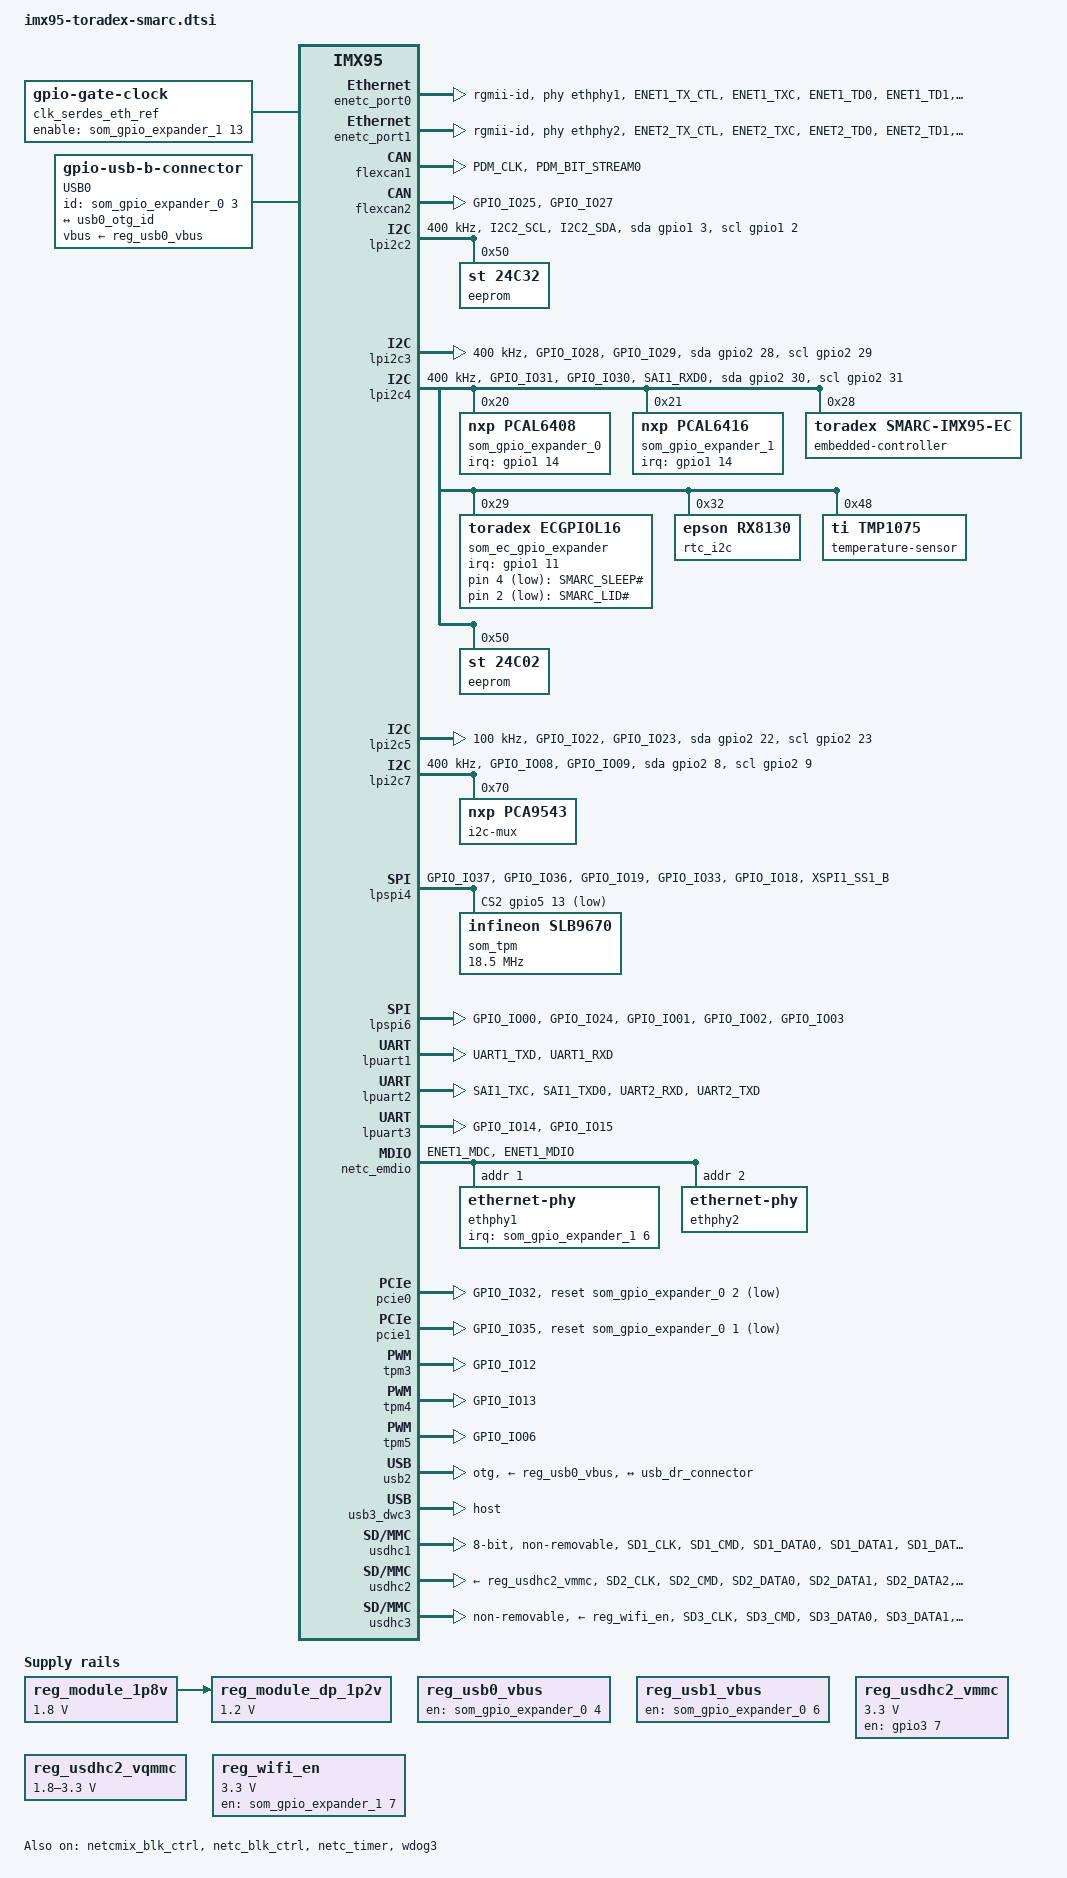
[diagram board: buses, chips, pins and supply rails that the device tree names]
// SPDX-License-Identifier: GPL-2.0-or-later OR MIT
/*
 * Copyright (C) 2025 Toradex
 *
 * https://www.toradex.com/computer-on-modules/smarc-arm-family/nxp-imx95
 */

#include <dt-bindings/input/input.h>
#include <dt-bindings/net/ti-dp83867.h>
#include "imx95.dtsi"

/ {
	aliases {
		can0 = &flexcan1;
		can1 = &flexcan2;
		ethernet0 = &enetc_port0;
		ethernet1 = &enetc_port1;
		mmc0 = &usdhc1;
		mmc1 = &usdhc2;
		mmc2 = &usdhc3;
		rtc0 = &rtc_i2c;
		rtc1 = &scmi_bbm;
		serial0 = &lpuart2;
		serial1 = &lpuart1;
		serial3 = &lpuart3;
	};

	chosen {
		stdout-path = "serial1:115200n8";
	};

	clk_dsi2dp_bridge: clock-dsi2dp-bridge {
		compatible = "fixed-clock";
		#clock-cells = <0>;
		clock-frequency = <27000000>;
	};

	clk_serdes_eth_ref: clock-eth-ref {
		compatible = "gpio-gate-clock";
		#clock-cells = <0>;
		/* CTRL_ETH_REF_CLK_STBY# */
		enable-gpios = <&som_gpio_expander_1 13 GPIO_ACTIVE_HIGH>;
	};

	connector {
		compatible = "gpio-usb-b-connector", "usb-b-connector";
		/* SMARC P64 - USB0_OTG_ID */
		id-gpios = <&som_gpio_expander_0 3 GPIO_ACTIVE_HIGH>;
		label = "USB0";
		self-powered;
		type = "micro";
		vbus-supply = <&reg_usb0_vbus>;

		port {
			usb_dr_connector: endpoint {
				remote-endpoint = <&usb0_otg_id>;
			};
		};
	};

	gpio-keys {
		compatible = "gpio-keys";

		smarc_key_sleep: key-sleep {
			gpios = <&som_ec_gpio_expander 4 GPIO_ACTIVE_LOW>;
			label = "SMARC_SLEEP#";
			wakeup-source;
			linux,code = <KEY_SLEEP>;
		};

		smarc_switch_lid: switch-lid {
			gpios = <&som_ec_gpio_expander 2 GPIO_ACTIVE_LOW>;
			label = "SMARC_LID#";
			linux,code = <SW_LID>;
			linux,input-type = <EV_SW>;
		};
	};

	reg_module_1p8v: regulator-module-1p8v {
		compatible = "regulator-fixed";
		regulator-max-microvolt = <1800000>;
		regulator-min-microvolt = <1800000>;
		regulator-name = "On-module +V1.8";
	};

	/* Non PMIC On-module Supplies */
	reg_module_dp_1p2v: regulator-module-dp-1p2v {
		compatible = "regulator-fixed";
		regulator-max-microvolt = <1200000>;
		regulator-min-microvolt = <1200000>;
		regulator-name = "On-module +V1.2_DP";
		vin-supply = <&reg_module_1p8v>;
	};

	reg_usb0_vbus: regulator-usb0-vbus {
		compatible = "regulator-fixed";
		/* SMARC P62 - USB0_EN_OC# */
		gpios = <&som_gpio_expander_0 4 GPIO_ACTIVE_HIGH>;
		enable-active-high;
		regulator-name = "USB0_EN_OC#";
	};

	reg_usb1_vbus: regulator-usb1-vbus {
		compatible = "regulator-fixed";
		/* CTRL_V_BUS_USB_HUB or SMARC P71 - USB2_EN_OC# */
		gpios = <&som_gpio_expander_0 6 GPIO_ACTIVE_HIGH>;
		enable-active-high;
		regulator-name = "CTRL_V_BUS_USB_HUB";
	};

	reg_usdhc2_vmmc: regulator-vmmc-usdhc2 {
		compatible = "regulator-fixed";
		pinctrl-names = "default";
		pinctrl-0 = <&pinctrl_usdhc2_pwr_en>;
		gpio = <&gpio3 7 GPIO_ACTIVE_HIGH>;
		enable-active-high;
		off-on-delay-us = <100000>;
		regulator-max-microvolt = <3300000>;
		regulator-min-microvolt = <3300000>;
		regulator-name = "SDIO_PWR_EN";
		startup-delay-us = <20000>;
	};

	reg_usdhc2_vqmmc: regulator-usdhc2-vqmmc {
		compatible = "regulator-gpio";
		pinctrl-names = "default";
		pinctrl-0 = <&pinctrl_usdhc2_vsel>;
		gpios = <&gpio3 19 GPIO_ACTIVE_HIGH>;
		regulator-max-microvolt = <3300000>;
		regulator-min-microvolt = <1800000>;
		states = <1800000 0x1>,
			 <3300000 0x0>;
		regulator-name = "PMIC_SD2_VSEL";
	};

	reg_wifi_en: regulator-wifi-en {
		compatible = "regulator-fixed";
		/* CTRL_EN_WIFI */
		gpios = <&som_gpio_expander_1 7 GPIO_ACTIVE_HIGH>;
		enable-active-high;
		regulator-max-microvolt = <3300000>;
		regulator-min-microvolt = <3300000>;
		regulator-name = "CTRL_EN_WIFI";
		startup-delay-us = <2000>;
	};

	reserved-memory {
		#address-cells = <2>;
		#size-cells = <2>;
		ranges;

		linux_cma: linux,cma {
			compatible = "shared-dma-pool";
			reusable;
			size = <0 0x3c000000>;
			alloc-ranges = <0 0x80000000 0 0x7f000000>;
			linux,cma-default;
		};
	};
};

/* SMARC GBE0 */
&enetc_port0 {
	pinctrl-names = "default";
	pinctrl-0 = <&pinctrl_enetc0>, <&pinctrl_enetc0_1588_tmr>;
	phy-handle = <&ethphy1>;
	phy-mode = "rgmii-id";
};

/* SMARC GBE1 */
&enetc_port1 {
	pinctrl-names = "default";
	pinctrl-0 = <&pinctrl_enetc1>, <&pinctrl_enetc1_1588_tmr>;
	phy-handle = <&ethphy2>;
	phy-mode = "rgmii-id";
};

/* SMARC CAN0 */
&flexcan1 {
	pinctrl-names = "default";
	pinctrl-0 = <&pinctrl_flexcan1>;
};

/* SMARC CAN1 */
&flexcan2 {
	pinctrl-names = "default";
	pinctrl-0 = <&pinctrl_flexcan2>;
};

&gpio1 {
	gpio-line-names = "", /* 0 */
			  "",
			  "SMARC_I2C_GP_CK",
			  "SMARC_I2C_GP_DAT",
			  "",
			  "",
			  "",
			  "",
			  "",
			  "",
			  "", /* 10 */
			  "",
			  "",
			  "",
			  "CTRL_IO_EXP_INT_B";
	status = "okay";
};

&gpio2 {
	gpio-line-names = "SMARC_SPI0_CS0#", /* 0 */
			  "",
			  "",
			  "",
			  "",
			  "",
			  "SMARC_GPIO5",
			  "",
			  "I2C_CAM_DAT",
			  "I2C_CAM_CK",
			  "SMARC_GPIO12", /* 10 */
			  "SMARC_GPIO13",
			  "",
			  "",
			  "",
			  "",
			  "",
			  "",
			  "SMARC_SPI1_CS0#",
			  "",
			  "", /* 20 */
			  "",
			  "SMARC_I2C_LCD_DAT",
			  "SMARC_I2C_LCD_CK",
			  "SMARC_SPI0_CS1#",
			  "",
			  "",
			  "",
			  "SMARC_I2C_PM_DAT",
			  "SMARC_I2C_PM_CK",
			  "I2C_SOM_DAT", /* 30 */
			  "I2C_SOM_CK";
	status = "okay";
};

&gpio3 {
	gpio-line-names = "SMARC_SDIO_CD#", /* 0 */
			  "",
			  "",
			  "",
			  "",
			  "",
			  "",
			  "SMARC_SDIO_PWR_EN",
			  "",
			  "",
			  "", /* 10 */
			  "",
			  "",
			  "",
			  "",
			  "",
			  "",
			  "",
			  "",
			  "",
			  "PMIC_SD2_VSEL";
	status = "okay";
};

&gpio4 {
	gpio-line-names = "", /* 0 */
			  "",
			  "",
			  "",
			  "",
			  "",
			  "",
			  "",
			  "",
			  "",
			  "", /* 10 */
			  "",
			  "",
			  "",
			  "SMARC_GPIO11",
			  "SMARC_GPIO10",
			  "",
			  "",
			  "",
			  "",
			  "", /* 20 */
			  "",
			  "",
			  "",
			  "",
			  "",
			  "",
			  "",
			  "SMARC_SMB_ALERT#";
	status = "okay";
};

&gpio5 {
	gpio-line-names = "SMARC_GPIO2", /* 0 */
			  "SMARC_GPIO3",
			  "SMARC_GPIO4",
			  "SMARC_GPIO6",
			  "",
			  "",
			  "",
			  "",
			  "SMARC_GPIO9",
			  "SMARC_GPIO7",
			  "SMARC_GPIO8", /* 10 */
			  "SMARC_SPI1_CS1#",
			  "",
			  "SPI1_TPM_CS#";
	status = "okay";
};

/* SMARC I2C_GP */
&lpi2c2 {
	pinctrl-names = "default", "gpio";
	pinctrl-0 = <&pinctrl_lpi2c2>;
	pinctrl-1 = <&pinctrl_lpi2c2_gpio>;
	#address-cells = <1>;
	#size-cells = <0>;
	clock-frequency = <400000>;
	scl-gpios = <&gpio1 2 (GPIO_ACTIVE_HIGH | GPIO_OPEN_DRAIN)>;
	sda-gpios = <&gpio1 3 (GPIO_ACTIVE_HIGH | GPIO_OPEN_DRAIN)>;
	status = "okay";

	eeprom@50 {
		compatible = "st,24c32", "atmel,24c32";
		reg = <0x50>;
		pagesize = <32>;
	};
};

/* SMARC I2C_PM */
&lpi2c3 {
	pinctrl-names = "default", "gpio";
	pinctrl-0 = <&pinctrl_lpi2c3>;
	pinctrl-1 = <&pinctrl_lpi2c3_gpio>;
	#address-cells = <1>;
	#size-cells = <0>;
	clock-frequency = <400000>;
	scl-gpios = <&gpio2 29 (GPIO_ACTIVE_HIGH | GPIO_OPEN_DRAIN)>;
	sda-gpios = <&gpio2 28 (GPIO_ACTIVE_HIGH | GPIO_OPEN_DRAIN)>;
};

/* I2C_SOM */
&lpi2c4 {
	pinctrl-names = "default", "gpio";
	pinctrl-0 = <&pinctrl_lpi2c4>, <&pinctrl_ctrl_io_exp_int_b>;
	pinctrl-1 = <&pinctrl_lpi2c4_gpio>, <&pinctrl_ctrl_io_exp_int_b>;
	#address-cells = <1>;
	#size-cells = <0>;
	clock-frequency = <400000>;
	scl-gpios = <&gpio2 31 (GPIO_ACTIVE_HIGH | GPIO_OPEN_DRAIN)>;
	sda-gpios = <&gpio2 30 (GPIO_ACTIVE_HIGH | GPIO_OPEN_DRAIN)>;
	status = "okay";

	som_gpio_expander_0: gpio@20 {
		compatible = "nxp,pcal6408";
		reg = <0x20>;
		#interrupt-cells = <2>;
		interrupt-controller;
		interrupt-parent = <&gpio1>;
		interrupts = <14 IRQ_TYPE_LEVEL_LOW>;
		#gpio-cells = <2>;
		gpio-controller;
		gpio-line-names =
			"SMARC_PCIE_WAKE#", /* 0 */
			"SMARC_PCIE_B_RST#",
			"SMARC_PCIE_A_RST#",
			"SMARC_USB0_OTG_ID",
			"SMARC_USB0_EN", /* SMARC USB0_EN_OC# - Open Drain Output */
			"SMARC_USB0_OC#", /* SMARC USB0_EN_OC# - Over-Current Sense Input */
			"",
			"SMARC_PCIE_C_RST#";
	};

	som_gpio_expander_1: gpio@21 {
		compatible = "nxp,pcal6416";
		reg = <0x21>;
		#interrupt-cells = <2>;
		interrupt-controller;
		interrupt-parent = <&gpio1>;
		interrupts = <14 IRQ_TYPE_LEVEL_LOW>;
		#gpio-cells = <2>;
		gpio-controller;
		gpio-line-names =
			"SMARC_GPIO0", /* 0 */
			"SMARC_GPIO1",
			"SMARC_LCD0_VDD_EN",
			"SMARC_LCD0_BKLT_EN",
			"SMARC_LCD1_VDD_EN",
			"SMARC_LCD1_BKLT_EN",
			"",
			"",
			"",
			"",
			"", /* 10 */
			"",
			"",
			"",
			"",
			"SMARC_SDIO_WP";
	};

	embedded-controller@28 {
		compatible = "toradex,smarc-imx95-ec", "toradex,smarc-ec";
		reg = <0x28>;
	};

	som_ec_gpio_expander: gpio@29 {
		compatible = "toradex,ecgpiol16", "nxp,pcal6416";
		reg = <0x29>;
		pinctrl-names = "default";
		pinctrl-0 = <&pinctrl_ec_int>;
		#interrupt-cells = <2>;
		interrupt-controller;
		interrupt-parent = <&gpio1>;
		interrupts = <11 IRQ_TYPE_LEVEL_LOW>;
		#gpio-cells = <2>;
		gpio-controller;
		gpio-line-names =
			"SMARC_CHARGER_PRSNT#",
			"SMARC_CHARGING#",
			"SMARC_LID#",
			"SMARC_BATLOW#",
			"SMARC_SLEEP#";
	};

	/* SMARC DP0 */
	som_dsi2dp_bridge: bridge@2c {
		compatible = "ti,sn65dsi86";
		reg = <0x2c>;
		clocks = <&clk_dsi2dp_bridge>;
		clock-names = "refclk";
		vcc-supply = <&reg_module_dp_1p2v>;
		vcca-supply = <&reg_module_dp_1p2v>;
		vccio-supply = <&reg_module_1p8v>;
		vpll-supply = <&reg_module_1p8v>;
		status = "disabled";

		ports {
			#address-cells = <1>;
			#size-cells = <0>;

			port@0 {
				reg = <0>;

				sn65dsi86_in: endpoint {
				};
			};

			port@1 {
				reg = <1>;

				sn65dsi86_out: endpoint {
					data-lanes = <3 2 1 0>;
				};
			};
		};
	};

	rtc_i2c: rtc@32 {
		compatible = "epson,rx8130";
		reg = <0x32>;
	};

	temperature-sensor@48 {
		compatible = "ti,tmp1075";
		reg = <0x48>;
	};

	eeprom@50 {
		compatible = "st,24c02", "atmel,24c02";
		reg = <0x50>;
		pagesize = <16>;
	};
};

/* SMARC I2C_LCD */
&lpi2c5 {
	pinctrl-names = "default", "gpio";
	pinctrl-0 = <&pinctrl_lpi2c5>;
	pinctrl-1 = <&pinctrl_lpi2c5_gpio>;
	#address-cells = <1>;
	#size-cells = <0>;
	clock-frequency = <100000>;
	scl-gpios = <&gpio2 23 (GPIO_ACTIVE_HIGH | GPIO_OPEN_DRAIN)>;
	sda-gpios = <&gpio2 22 (GPIO_ACTIVE_HIGH | GPIO_OPEN_DRAIN)>;
};

/* I2C_CAM */
&lpi2c7 {
	pinctrl-names = "default", "gpio";
	pinctrl-0 = <&pinctrl_lpi2c7>;
	pinctrl-1 = <&pinctrl_lpi2c7_gpio>;
	#address-cells = <1>;
	#size-cells = <0>;
	clock-frequency = <400000>;
	scl-gpios = <&gpio2 9 (GPIO_ACTIVE_HIGH | GPIO_OPEN_DRAIN)>;
	sda-gpios = <&gpio2 8 (GPIO_ACTIVE_HIGH | GPIO_OPEN_DRAIN)>;
	status = "okay";

	i2c-mux@70 {
		compatible = "nxp,pca9543";
		reg = <0x70>;
		#address-cells = <1>;
		#size-cells = <0>;

		/* SMARC I2C_CAM0 */
		i2c_cam0: i2c@0 {
			reg = <0>;
			#address-cells = <1>;
			#size-cells = <0>;
		};

		/* SMARC I2C_CAM1 */
		i2c_cam1: i2c@1 {
			reg = <1>;
			#address-cells = <1>;
			#size-cells = <0>;
		};
	};
};

/* SMARC SPI1 */
&lpspi4 {
	pinctrl-names = "default";
	pinctrl-0 = <&pinctrl_lpspi4>;
	cs-gpios = <&gpio2 18 GPIO_ACTIVE_LOW>,
		   <&gpio5 11 GPIO_ACTIVE_LOW>,
		   <&gpio5 13 GPIO_ACTIVE_LOW>;
	status = "okay";

	som_tpm: tpm@2 {
		compatible = "infineon,slb9670", "tcg,tpm_tis-spi";
		reg = <0x2>;
		spi-max-frequency = <18500000>;
	};
};

/* SMARC SPI0 */
&lpspi6 {
	pinctrl-names = "default";
	pinctrl-0 = <&pinctrl_lpspi6>;
	cs-gpios = <&gpio2 0 GPIO_ACTIVE_LOW>,
		   <&gpio2 24 GPIO_ACTIVE_LOW>;
};

/* SMARC SER1, used as the Linux Console */
&lpuart1 {
	pinctrl-names = "default";
	pinctrl-0 = <&pinctrl_uart1>;
};

/* SMARC SER0 */
&lpuart2 {
	pinctrl-names = "default";
	pinctrl-0 = <&pinctrl_uart2>;
	uart-has-rtscts;
};

/* SMARC SER3 */
&lpuart3 {
	pinctrl-names = "default";
	pinctrl-0 = <&pinctrl_uart3>;
};

/* SMARC MDIO, shared between all ethernet ports */
&netc_emdio {
	pinctrl-names = "default";
	pinctrl-0 = <&pinctrl_emdio>;

	ethphy1: ethernet-phy@1 {
		reg = <1>;
		interrupt-parent = <&som_gpio_expander_1>;
		interrupts = <6 IRQ_TYPE_EDGE_FALLING>;
		ti,rx-internal-delay = <DP83867_RGMIIDCTL_2_00_NS>;
		ti,tx-internal-delay = <DP83867_RGMIIDCTL_2_00_NS>;
	};

	ethphy2: ethernet-phy@2 {
		reg = <2>;
		ti,rx-internal-delay = <DP83867_RGMIIDCTL_2_00_NS>;
		ti,tx-internal-delay = <DP83867_RGMIIDCTL_2_00_NS>;
	};
};

&netcmix_blk_ctrl {
	status = "okay";
};

&netc_blk_ctrl {
	status = "okay";
};

&netc_timer {
	status = "okay";
};

/* SMARC PCIE_A */
&pcie0 {
	pinctrl-0 = <&pinctrl_pcie0>;
	pinctrl-names = "default";
	reset-gpios = <&som_gpio_expander_0 2 GPIO_ACTIVE_LOW>;
};

/* SMARC PCIE_B */
&pcie1 {
	pinctrl-0 = <&pinctrl_pcie1>;
	pinctrl-names = "default";
	reset-gpios = <&som_gpio_expander_0 1 GPIO_ACTIVE_LOW>;
};

/* SMARC I2S0 */
&sai3 {
	#sound-dai-cells = <0>;
	assigned-clocks = <&scmi_clk IMX95_CLK_AUDIOPLL1_VCO>,
			  <&scmi_clk IMX95_CLK_AUDIOPLL2_VCO>,
			  <&scmi_clk IMX95_CLK_AUDIOPLL1>,
			  <&scmi_clk IMX95_CLK_AUDIOPLL2>,
			  <&scmi_clk IMX95_CLK_SAI3>;
	assigned-clock-parents = <0>, <0>, <0>, <0>,
				 <&scmi_clk IMX95_CLK_AUDIOPLL1>;
	assigned-clock-rates = <3932160000>,
			       <3612672000>, <393216000>,
			       <361267200>, <12288000>;
	fsl,sai-mclk-direction-output;
};

&thermal_zones {
	/* PF09 Main PMIC */
	pf09-thermal {
		polling-delay = <2000>;
		polling-delay-passive = <250>;
		thermal-sensors = <&scmi_sensor 2>;

		trips {
			trip0 {
				hysteresis = <2000>;
				temperature = <155000>;
				type = "critical";
			};
		};
	};

	/* PF53 VDD_ARM PMIC */
	pf53-arm-thermal {
		polling-delay = <2000>;
		polling-delay-passive = <250>;
		thermal-sensors = <&scmi_sensor 4>;

		trips {
			trip0 {
				hysteresis = <2000>;
				temperature = <155000>;
				type = "critical";
			};
		};
	};

	/* PF53 VDD_SOC PMIC */
	pf53-soc-thermal {
		polling-delay = <2000>;
		polling-delay-passive = <250>;
		thermal-sensors = <&scmi_sensor 3>;

		trips {
			trip0 {
				hysteresis = <2000>;
				temperature = <155000>;
				type = "critical";
			};
		};
	};
};

/* SMARC LCD0_BKLT_PWM */
&tpm3 {
	pinctrl-names = "default";
	pinctrl-0 = <&pinctrl_lcd0_bklt_pwm>;
};

/* SMARC LCD1_BKLT_PWM */
&tpm4 {
	pinctrl-names = "default";
	pinctrl-0 = <&pinctrl_lcd1_bklt_pwm>;
};

/* SMARC GPIO5 as PWM */
&tpm5 {
	pinctrl-names = "default";
	pinctrl-0 = <&pinctrl_gpio5_pwm>;
};

/* SMARC USB0 */
&usb2 {
	adp-disable;
	dr_mode = "otg";
	hnp-disable;
	srp-disable;
	usb-role-switch;
	vbus-supply = <&reg_usb0_vbus>;

	port {
		usb0_otg_id: endpoint {
			remote-endpoint = <&usb_dr_connector>;
		};
	};
};

&usb3 {
	fsl,disable-port-power-control;
};

/* SMARC USB1..4  */
&usb3_dwc3 {
	dr_mode = "host";
};

&usb3_phy {
	vbus-supply = <&reg_usb1_vbus>;
};

/* On-module eMMC */
&usdhc1 {
	pinctrl-names = "default", "state_100mhz", "state_200mhz";
	pinctrl-0 = <&pinctrl_usdhc1>;
	pinctrl-1 = <&pinctrl_usdhc1>;
	pinctrl-2 = <&pinctrl_usdhc1_200mhz>;
	bus-width = <8>;
	non-removable;
	no-sdio;
	no-sd;
	status = "okay";
};

/* SMARC SDIO */
&usdhc2 {
	pinctrl-names = "default", "state_100mhz", "state_200mhz", "sleep";
	pinctrl-0 = <&pinctrl_usdhc2>, <&pinctrl_usdhc2_cd>;
	pinctrl-1 = <&pinctrl_usdhc2>, <&pinctrl_usdhc2_cd>;
	pinctrl-2 = <&pinctrl_usdhc2_200mhz>,<&pinctrl_usdhc2_cd>;
	pinctrl-3 = <&pinctrl_usdhc2_sleep>, <&pinctrl_usdhc2_cd>;
	cd-gpios = <&gpio3 0 GPIO_ACTIVE_LOW>;
	vmmc-supply = <&reg_usdhc2_vmmc>;
	vqmmc-supply = <&reg_usdhc2_vqmmc>;
	wp-gpios = <&som_gpio_expander_1 15 GPIO_ACTIVE_HIGH>;
};

/* On-module Wi-Fi */
&usdhc3 {
	pinctrl-names = "default", "state_100mhz", "state_200mhz";
	pinctrl-0 = <&pinctrl_usdhc3>;
	pinctrl-1 = <&pinctrl_usdhc3>;
	pinctrl-2 = <&pinctrl_usdhc3_200mhz>;
	keep-power-in-suspend;
	non-removable;
	vmmc-supply = <&reg_wifi_en>;
};

&scmi_bbm {
	linux,code = <KEY_POWER>;
};

&wdog3 {
	fsl,ext-reset-output;
	status = "okay";
};

&scmi_iomuxc {
	/* SMARC CAM_MCK */
	pinctrl_cam_mck: cammckgrp {
		fsl,pins = <IMX95_PAD_CCM_CLKO1__CCMSRCGPCMIX_TOP_CLKO_1	0x51e>; /* SMARC S6 - CAM_MCK */
	};

	pinctrl_ec_int: ecintgrp {
		fsl,pins = <IMX95_PAD_SAI1_TXFS__AONMIX_TOP_GPIO1_IO_BIT11	0x31e>; /* SAI1_TXFS - EC_MCU_INT# */
	};

	/* SMARC MDIO, shared between all ethernet ports */
	pinctrl_emdio: emdiogrp {
		fsl,pins = <IMX95_PAD_ENET1_MDC__NETCMIX_TOP_NETC_MDC		0x50e>, /* SMARC S45 - MDIO_CLK */
			   <IMX95_PAD_ENET1_MDIO__NETCMIX_TOP_NETC_MDIO		0x90e>; /* SMARC S46 - MDIO_DAT */
	};

	/* SMARC GBE0 */
	pinctrl_enetc0: enetc0grp {
		fsl,pins = <IMX95_PAD_ENET1_TX_CTL__NETCMIX_TOP_ETH0_RGMII_TX_CTL	0x57e>, /* ENET1_TX_CTL */
			   <IMX95_PAD_ENET1_TXC__NETCMIX_TOP_ETH0_RGMII_TX_CLK		0x58e>, /* ENET1_TXC    */
			   <IMX95_PAD_ENET1_TD0__NETCMIX_TOP_ETH0_RGMII_TD0		0x50e>, /* ENET1_TDO    */
			   <IMX95_PAD_ENET1_TD1__NETCMIX_TOP_ETH0_RGMII_TD1		0x50e>, /* ENET1_TD1    */
			   <IMX95_PAD_ENET1_TD2__NETCMIX_TOP_ETH0_RGMII_TD2		0x50e>, /* ENET1_TD2    */
			   <IMX95_PAD_ENET1_TD3__NETCMIX_TOP_ETH0_RGMII_TD3		0x50e>, /* ENET1_TD3    */
			   <IMX95_PAD_ENET1_RX_CTL__NETCMIX_TOP_ETH0_RGMII_RX_CTL	0x57e>, /* ENET1_RX_CTL */
			   <IMX95_PAD_ENET1_RXC__NETCMIX_TOP_ETH0_RGMII_RX_CLK		0x58e>, /* ENET1_RXC    */
			   <IMX95_PAD_ENET1_RD0__NETCMIX_TOP_ETH0_RGMII_RD0		0x57e>, /* ENET1_RD0    */
			   <IMX95_PAD_ENET1_RD1__NETCMIX_TOP_ETH0_RGMII_RD1		0x57e>, /* ENET1_RD1    */
			   <IMX95_PAD_ENET1_RD2__NETCMIX_TOP_ETH0_RGMII_RD2		0x57e>, /* ENET1_RD2    */
			   <IMX95_PAD_ENET1_RD3__NETCMIX_TOP_ETH0_RGMII_RD3		0x57e>; /* ENET1_RD3    */
	};

	/* SMARC GBE0_SDP */
	pinctrl_enetc0_1588_tmr: enetc01588tmrgrp {
		fsl,pins = <IMX95_PAD_CCM_CLKO2__NETCMIX_TOP_NETC_TMR_1588_PP1	0x51e>; /* SMARC P6 - GBE0_SDP */
	};

	/* SMARC GBE1 */
	pinctrl_enetc1: enetc1grp {
		fsl,pins = <IMX95_PAD_ENET2_TX_CTL__NETCMIX_TOP_ETH1_RGMII_TX_CTL	0x57e>, /* ENET2_TX_CTL */
			   <IMX95_PAD_ENET2_TXC__NETCMIX_TOP_ETH1_RGMII_TX_CLK		0x58e>, /* ENET2_TXC    */
			   <IMX95_PAD_ENET2_TD0__NETCMIX_TOP_ETH1_RGMII_TD0		0x50e>, /* ENET2_TD0    */
			   <IMX95_PAD_ENET2_TD1__NETCMIX_TOP_ETH1_RGMII_TD1		0x50e>, /* ENET2_TD1    */
			   <IMX95_PAD_ENET2_TD2__NETCMIX_TOP_ETH1_RGMII_TD2		0x50e>, /* ENET2_TD2    */
			   <IMX95_PAD_ENET2_TD3__NETCMIX_TOP_ETH1_RGMII_TD3		0x50e>, /* ENET2_TD3    */
			   <IMX95_PAD_ENET2_RX_CTL__NETCMIX_TOP_ETH1_RGMII_RX_CTL	0x57e>, /* ENET2_RX_CTL */
			   <IMX95_PAD_ENET2_RXC__NETCMIX_TOP_ETH1_RGMII_RX_CLK		0x58e>, /* ENET2_RXC    */
			   <IMX95_PAD_ENET2_RD0__NETCMIX_TOP_ETH1_RGMII_RD0		0x57e>, /* ENET2_RD0    */
			   <IMX95_PAD_ENET2_RD1__NETCMIX_TOP_ETH1_RGMII_RD1		0x57e>, /* ENET2_RD1    */
			   <IMX95_PAD_ENET2_RD2__NETCMIX_TOP_ETH1_RGMII_RD2		0x57e>, /* ENET2_RD2    */
			   <IMX95_PAD_ENET2_RD3__NETCMIX_TOP_ETH1_RGMII_RD3		0x57e>; /* ENET2_RD3    */
	};

	/* SMARC GBE1_SDP */
	pinctrl_enetc1_1588_tmr: enetc11588tmrgrp {
		fsl,pins = <IMX95_PAD_CCM_CLKO4__NETCMIX_TOP_NETC_TMR_1588_PP2	0x51e>; /* SMARC P5 - GBE1_SDP */
	};

	/* SMARC CAN0 */
	pinctrl_flexcan1: flexcan1grp {
		fsl,pins = <IMX95_PAD_PDM_CLK__AONMIX_TOP_CAN1_TX		0x39e>, /* SMARC P143 - CAN0_TX */
			   <IMX95_PAD_PDM_BIT_STREAM0__AONMIX_TOP_CAN1_RX	0x39e>; /* SMARC P144 - CAN0_RX */
	};

	/* SMARC CAN1 */
	pinctrl_flexcan2: flexcan2grp {
		fsl,pins = <IMX95_PAD_GPIO_IO25__CAN2_TX	0x39e>, /* SMARC P145 - CAN1_TX */
			   <IMX95_PAD_GPIO_IO27__CAN2_RX	0x39e>; /* SMARC P146 - CAN1_RX */
	};

	/* SMARC GPIO2 */
	pinctrl_gpio2: gpio2grp {
		fsl,pins = <IMX95_PAD_XSPI1_DATA0__GPIO5_IO_BIT0	0x31e>; /* SMARC P110 - GPIO2 */
	};

	/* SMARC GPIO3 */
	pinctrl_gpio3: gpio3grp {
		fsl,pins = <IMX95_PAD_XSPI1_DATA1__GPIO5_IO_BIT1	0x31e>; /* SMARC P111 - GPIO3 */
	};

	/* SMARC GPIO4 */
	pinctrl_gpio4: gpio4grp {
		fsl,pins = <IMX95_PAD_XSPI1_DATA2__GPIO5_IO_BIT2	0x31e>; /* SMARC P112 - GPIO4 */
	};

	/* SMARC GPIO5 */
	pinctrl_gpio5: gpio5grp {
		fsl,pins = <IMX95_PAD_GPIO_IO06__GPIO2_IO_BIT6	0x31e>; /* SMARC P113 - GPIO5 */
	};

	/* SMARC GPIO5 as PWM */
	pinctrl_gpio5_pwm: gpio5pwmgrp {
		fsl,pins = <IMX95_PAD_GPIO_IO06__TPM5_CH0	0x11e>; /* SMARC P113 - PWM_OUT */
	};

	/* SMARC GPIO6 */
	pinctrl_gpio6: gpio6grp {
		fsl,pins = <IMX95_PAD_XSPI1_DATA3__GPIO5_IO_BIT3	0x31e>; /* SMARC P114 - GPIO6 */
	};

	/* SMARC GPIO7 */
	pinctrl_gpio7: gpio7grp {
		fsl,pins = <IMX95_PAD_XSPI1_SCLK__GPIO5_IO_BIT9 0x31e>; /* SMARC P115 - GPIO7 */
	};

	/* SMARC GPIO8 */
	pinctrl_gpio8: gpio8grp {
		fsl,pins = <IMX95_PAD_XSPI1_SS0_B__GPIO5_IO_BIT10	0x31e>; /* SMARC P116 - GPIO8 */
	};

	/* SMARC GPIO9 */
	pinctrl_gpio9: gpio9grp {
		fsl,pins = <IMX95_PAD_XSPI1_DQS__GPIO5_IO_BIT8	0x31e>; /* SMARC P117 - GPIO9 */
	};

	/* SMARC GPIO10 */
	pinctrl_gpio10: gpio10grp {
		fsl,pins = <IMX95_PAD_ENET2_MDIO__GPIO4_IO_BIT15	0x31e>; /* SMARC P118 - GPIO10 */
	};

	/* SMARC GPIO11 */
	pinctrl_gpio11: gpio11grp {
		fsl,pins = <IMX95_PAD_ENET2_MDC__GPIO4_IO_BIT14	0x31e>; /* SMARC P119 - GPIO11 */
	};

	/* SMARC GPIO12 */
	pinctrl_gpio12: gpio12grp {
		fsl,pins = <IMX95_PAD_GPIO_IO10__GPIO2_IO_BIT10	0x31e>; /* SMARC S142 - GPIO12 */
	};

	/* SMARC GPIO13 */
	pinctrl_gpio13: gpio13grp {
		fsl,pins = <IMX95_PAD_GPIO_IO11__GPIO2_IO_BIT11	0x31e>; /* SMARC S123 - GPIO13 */
	};

	pinctrl_ctrl_io_exp_int_b: ioexpintgrp {
		fsl,pins = <IMX95_PAD_SAI1_RXD0__AONMIX_TOP_GPIO1_IO_BIT14 0x31e>; /* CTRL_IO_EXP_INT_B */
	};

	/* SMARC LCD0_BKLT_PWM */
	pinctrl_lcd0_bklt_pwm: lcd0bkltpwmgrp {
		fsl,pins = <IMX95_PAD_GPIO_IO12__TPM3_CH2	0x51e>; /* SMARC S141 - LCD0_BKLT_PWM */
	};

	/* SMARC LCD1_BKLT_PWM */
	pinctrl_lcd1_bklt_pwm: lcd1bkltpwmgrp {
		fsl,pins = <IMX95_PAD_GPIO_IO13__TPM4_CH2	0x51e>; /* SMARC S122 - LCD1_BKLT_PWM */
	};

	/* SMARC I2C_GP */
	pinctrl_lpi2c2: lpi2c2grp {
		fsl,pins = <IMX95_PAD_I2C2_SCL__AONMIX_TOP_LPI2C2_SCL	0x40001b9e>, /* SMARC S48 - I2C_GP_CK  */
			   <IMX95_PAD_I2C2_SDA__AONMIX_TOP_LPI2C2_SDA	0x40001b9e>; /* SMARC S49 - I2C_GP_DAT */
	};

	/* SMARC I2C_GP as GPIOs */
	pinctrl_lpi2c2_gpio: lpi2c2gpiogrp {
		fsl,pins = <IMX95_PAD_I2C2_SCL__AONMIX_TOP_GPIO1_IO_BIT2	0x40001b9e>, /* SMARC S48 - I2C_GP_CK  */
			   <IMX95_PAD_I2C2_SDA__AONMIX_TOP_GPIO1_IO_BIT3	0x40001b9e>; /* SMARC S49 - I2C_GP_DAT */
	};

	/* SMARC I2C_PM */
	pinctrl_lpi2c3: lpi2c3grp {
		fsl,pins = <IMX95_PAD_GPIO_IO28__LPI2C3_SDA	0x40001b9e>, /* SMARC P122 - I2C_PM_DAT */
			   <IMX95_PAD_GPIO_IO29__LPI2C3_SCL	0x40001b9e>; /* SMARC P121 - I2C_PM_CK  */
	};

	/* SMARC I2C_PM as GPIOs */
	pinctrl_lpi2c3_gpio: lpi2c3gpiogrp {
		fsl,pins = <IMX95_PAD_GPIO_IO28__GPIO2_IO_BIT28	0x40001b9e>, /* SMARC P122 - I2C_PM_DAT */
			   <IMX95_PAD_GPIO_IO29__GPIO2_IO_BIT29	0x40001b9e>; /* SMARC P121 - I2C_PM_CK  */
	};

	/* I2C_SOM */
	pinctrl_lpi2c4: lpi2c4grp {
		fsl,pins = <IMX95_PAD_GPIO_IO31__LPI2C4_SCL	0x40001b9e>, /* I2C_SOM_CK  */
			   <IMX95_PAD_GPIO_IO30__LPI2C4_SDA	0x40001b9e>; /* I2C_SOM_DAT */
	};

	/* I2C_SOM as GPIOs */
	pinctrl_lpi2c4_gpio: lpi2c4gpiogrp {
		fsl,pins = <IMX95_PAD_GPIO_IO31__GPIO2_IO_BIT31	0x40001b9e>, /* I2C_SOM_CK  */
			   <IMX95_PAD_GPIO_IO30__GPIO2_IO_BIT30	0x40001b9e>; /* I2C_SOM_DAT */
	};

	/* SMARC I2C_LCD */
	pinctrl_lpi2c5: lpi2c5grp {
		fsl,pins = <IMX95_PAD_GPIO_IO22__LPI2C5_SDA	0x40001b9e>, /* SMARC S140 - I2C_LCD_DAT */
			   <IMX95_PAD_GPIO_IO23__LPI2C5_SCL	0x40001b9e>; /* SMARC S139 - I2C_LCD_CK  */
	};

	/* SMARC I2C_LCD as GPIOs */
	pinctrl_lpi2c5_gpio: lpi2c5gpiogrp {
		fsl,pins = <IMX95_PAD_GPIO_IO22__GPIO2_IO_BIT22	0x40001b9e>, /* SMARC S140 - I2C_LCD_DAT */
			   <IMX95_PAD_GPIO_IO23__GPIO2_IO_BIT23	0x40001b9e>; /* SMARC S139 - I2C_LCD_CK  */
	};

	/* I2C_CAM */
	pinctrl_lpi2c7: lpi2c7grp {
		fsl,pins = <IMX95_PAD_GPIO_IO08__LPI2C7_SDA	0x40001b9e>, /* I2C_CAM_DAT */
			   <IMX95_PAD_GPIO_IO09__LPI2C7_SCL	0x40001b9e>; /* I2C_CAM_CK  */
	};

	/* I2C_CAM as GPIOs */
	pinctrl_lpi2c7_gpio: lpi2c7gpiogrp {
		fsl,pins = <IMX95_PAD_GPIO_IO08__GPIO2_IO_BIT8	0x40001b9e>, /* I2C_CAM_DAT */
			   <IMX95_PAD_GPIO_IO09__GPIO2_IO_BIT9	0x40001b9e>; /* I2C_CAM_CK  */
	};

	/* SMARC SPI1 */
	pinctrl_lpspi4: lpspi4grp {
		fsl,pins = <IMX95_PAD_GPIO_IO37__LPSPI4_SCK		0x3fe>, /* SMARC P56 - SPI1_CK   */
			   <IMX95_PAD_GPIO_IO36__LPSPI4_SOUT		0x3fe>, /* SMARC P58 - SPI1_DO   */
			   <IMX95_PAD_GPIO_IO19__LPSPI4_SIN		0x3fe>, /* SMARC P57 - SPI1_DIN  */
			   <IMX95_PAD_GPIO_IO33__GPIO5_IO_BIT13		0x3fe>, /* SPI1_TPM_CS#          */
			   <IMX95_PAD_GPIO_IO18__GPIO2_IO_BIT18		0x3fe>, /* SMARC P54 - SPI1_CS0# */
			   <IMX95_PAD_XSPI1_SS1_B__GPIO5_IO_BIT11	0x3fe>; /* SMARC P55 - SPI1_CS1# */
	};

	/* SMARC SPI0 */
	pinctrl_lpspi6: lpspi6grp {
		fsl,pins = <IMX95_PAD_GPIO_IO00__GPIO2_IO_BIT0		0x3fe>, /* SMARC P43 - SPI0_CS0# */
			   <IMX95_PAD_GPIO_IO24__GPIO2_IO_BIT24		0x3fe>, /* SMARC P31 - SPI0_CS1# */
			   <IMX95_PAD_GPIO_IO01__LPSPI6_SIN		0x3fe>, /* SMARC P45 - SPI0_DIN  */
			   <IMX95_PAD_GPIO_IO02__LPSPI6_SOUT		0x3fe>, /* SMARC P46 - SPI0_DO   */
			   <IMX95_PAD_GPIO_IO03__LPSPI6_SCK		0x3fe>; /* SMARC P44 - SPI0_CK   */
	};

	/* SMARC PCIE_A */
	pinctrl_pcie0: pcie0grp {
		fsl,pins = <IMX95_PAD_GPIO_IO32__HSIOMIX_TOP_PCIE1_CLKREQ_B	0x40001b1e>; /* SMARC P78 - PCIE_A_CKREQ# */
	};

	/* SMARC PCIE_B */
	pinctrl_pcie1: pcie1grp {
		fsl,pins = <IMX95_PAD_GPIO_IO35__HSIOMIX_TOP_PCIE2_CLKREQ_B	0x40001b1e>; /* SMARC P77 - PCIE_B_CKREQ# */
	};

	/* SMARC I2S0 */
	pinctrl_sai3: sai3grp {
		fsl,pins = <IMX95_PAD_GPIO_IO16__SAI3_TX_BCLK		0x11e>, /* SMARC S38 - I2S0_CK */
			   <IMX95_PAD_GPIO_IO20__SAI3_RX_DATA_BIT0	0x11e>, /* SMARC S41 - I2S0_SDIN */
			   <IMX95_PAD_GPIO_IO21__SAI3_TX_DATA_BIT0	0x11e>, /* SMARC S40 - I2S0_SDOUT */
			   <IMX95_PAD_GPIO_IO26__SAI3_TX_SYNC		0x11e>; /* SMARC S39 - I2S0_LRCK */
	};

	/* SMARC AUDIO_MCK */
	pinctrl_sai3_mclk: sai3mclkgrp {
		fsl,pins = <IMX95_PAD_GPIO_IO17__SAI3_MCLK	0x31e>; /* SMARC S42 - AUDIO_MCK */
	};

	/* SMARC I2S2 */
	pinctrl_sai5: sai5grp {
		fsl,pins = <IMX95_PAD_XSPI1_DATA6__SAI5_TX_BCLK		0x11e>, /* SMARC S53 - I2S2_CK */
			   <IMX95_PAD_XSPI1_DATA4__SAI5_TX_DATA_BIT0	0x11e>, /* SMARC S51 - I2S2_SDOUT */
			   <IMX95_PAD_XSPI1_DATA7__SAI5_RX_DATA_BIT0	0x11e>, /* SMARC S52 - I2S2_SDIN */
			   <IMX95_PAD_XSPI1_DATA5__SAI5_TX_SYNC		0x11e>; /* SMARC S50 - I2S2_LRCK */
	};

	/* SMARC SMB_ALERT# */
	pinctrl_smb_alert_gpio: smbalertgrp {
		fsl,pins = <IMX95_PAD_CCM_CLKO3__GPIO4_IO_BIT28	0x31e>; /* SMARC P1 - SMB_ALERT# */
	};

	/* SMARC SER1, used as the Linux Console */
	pinctrl_uart1: uart1grp {
		fsl,pins = <IMX95_PAD_UART1_TXD__AONMIX_TOP_LPUART1_TX	0x31e>, /* SMARC P134 - SER1_TX */
			   <IMX95_PAD_UART1_RXD__AONMIX_TOP_LPUART1_RX	0x31e>; /* SMARC P135 - SER1_RX */
	};

	/* SMARC SER0 */
	pinctrl_uart2: uart2grp {
		fsl,pins = <IMX95_PAD_SAI1_TXC__AONMIX_TOP_LPUART2_CTS_B	0x31e>, /* SMARC P132 - SER0_CTS# */
			   <IMX95_PAD_SAI1_TXD0__AONMIX_TOP_LPUART2_RTS_B	0x31e>, /* SMARC P131 - SER0_RTS# */
			   <IMX95_PAD_UART2_RXD__AONMIX_TOP_LPUART2_RX		0x31e>, /* SMARC P130 - SER0_RX   */
			   <IMX95_PAD_UART2_TXD__AONMIX_TOP_LPUART2_TX		0x31e>; /* SMARC P129 - SER0_TX   */
	};

	/* SMARC SER3 */
	pinctrl_uart3: uart3grp {
		fsl,pins = <IMX95_PAD_GPIO_IO14__LPUART3_TX	0x31e>, /* SMARC P140 - SER3_TX */
			   <IMX95_PAD_GPIO_IO15__LPUART3_RX	0x31e>; /* SMARC P141 - SER3_RX */
	};

	/* On-module eMMC */
	pinctrl_usdhc1: usdhc1grp {
		fsl,pins = <IMX95_PAD_SD1_CLK__USDHC1_CLK	0x158e>, /* SD1_CLK    */
			   <IMX95_PAD_SD1_CMD__USDHC1_CMD	0x138e>, /* SD1_CMD    */
			   <IMX95_PAD_SD1_DATA0__USDHC1_DATA0	0x138e>, /* SD1_DATA0  */
			   <IMX95_PAD_SD1_DATA1__USDHC1_DATA1	0x138e>, /* SD1_DATA1  */
			   <IMX95_PAD_SD1_DATA2__USDHC1_DATA2	0x138e>, /* SD1_DATA2  */
			   <IMX95_PAD_SD1_DATA3__USDHC1_DATA3	0x138e>, /* SD1_DATA3  */
			   <IMX95_PAD_SD1_DATA4__USDHC1_DATA4	0x138e>, /* SD1_DATA4  */
			   <IMX95_PAD_SD1_DATA5__USDHC1_DATA5	0x138e>, /* SD1_DATA5  */
			   <IMX95_PAD_SD1_DATA6__USDHC1_DATA6	0x138e>, /* SD1_DATA6  */
			   <IMX95_PAD_SD1_DATA7__USDHC1_DATA7	0x138e>, /* SD1_DATA7  */
			   <IMX95_PAD_SD1_STROBE__USDHC1_STROBE	0x158e>; /* SD1_STROBE */
	};

	pinctrl_usdhc1_200mhz: usdhc1-200mhzgrp {
		fsl,pins = <IMX95_PAD_SD1_CLK__USDHC1_CLK	0x15fe>, /* SD1_CLK    */
			   <IMX95_PAD_SD1_CMD__USDHC1_CMD	0x13fe>, /* SD1_CMD    */
			   <IMX95_PAD_SD1_DATA0__USDHC1_DATA0	0x13fe>, /* SD1_DATA0  */
			   <IMX95_PAD_SD1_DATA1__USDHC1_DATA1	0x13fe>, /* SD1_DATA1  */
			   <IMX95_PAD_SD1_DATA2__USDHC1_DATA2	0x13fe>, /* SD1_DATA2  */
			   <IMX95_PAD_SD1_DATA3__USDHC1_DATA3	0x13fe>, /* SD1_DATA3  */
			   <IMX95_PAD_SD1_DATA4__USDHC1_DATA4	0x13fe>, /* SD1_DATA4  */
			   <IMX95_PAD_SD1_DATA5__USDHC1_DATA5	0x13fe>, /* SD1_DATA5  */
			   <IMX95_PAD_SD1_DATA6__USDHC1_DATA6	0x13fe>, /* SD1_DATA6  */
			   <IMX95_PAD_SD1_DATA7__USDHC1_DATA7	0x13fe>, /* SD1_DATA7  */
			   <IMX95_PAD_SD1_STROBE__USDHC1_STROBE	0x15fe>; /* SD1_STROBE */
	};

	/* SMARC SDIO */
	pinctrl_usdhc2: usdhc2grp {
		fsl,pins = <IMX95_PAD_SD2_CLK__USDHC2_CLK		0x158e>, /* SMARC P36 - SDIO_CK  */
			   <IMX95_PAD_SD2_CMD__USDHC2_CMD		0x138e>, /* SMARC P34 - SDIO_CMD */
			   <IMX95_PAD_SD2_DATA0__USDHC2_DATA0		0x138e>, /* SMARC P39 - SDIO_D0  */
			   <IMX95_PAD_SD2_DATA1__USDHC2_DATA1		0x138e>, /* SMARC P40 - SDIO_D1  */
			   <IMX95_PAD_SD2_DATA2__USDHC2_DATA2		0x138e>, /* SMARC P41 - SDIO_D2  */
			   <IMX95_PAD_SD2_DATA3__USDHC2_DATA3		0x138e>; /* SMARC P42 - SDIO_D3  */
	};

	/* SMARC SDIO */
	pinctrl_usdhc2_200mhz: usdhc2-200mhzgrp {
		fsl,pins = <IMX95_PAD_SD2_CLK__USDHC2_CLK		0x15fe>, /* SMARC P36 - SDIO_CK  */
			   <IMX95_PAD_SD2_CMD__USDHC2_CMD		0x13fe>, /* SMARC P34 - SDIO_CMD */
			   <IMX95_PAD_SD2_DATA0__USDHC2_DATA0		0x13fe>, /* SMARC P39 - SDIO_D0  */
			   <IMX95_PAD_SD2_DATA1__USDHC2_DATA1		0x13fe>, /* SMARC P40 - SDIO_D1  */
			   <IMX95_PAD_SD2_DATA2__USDHC2_DATA2		0x13fe>, /* SMARC P41 - SDIO_D2  */
			   <IMX95_PAD_SD2_DATA3__USDHC2_DATA3		0x13fe>; /* SMARC P42 - SDIO_D3  */
	};

	/* SMARC SDIO */
	pinctrl_usdhc2_sleep: usdhc2-sleepgrp {
		fsl,pins = <IMX95_PAD_SD2_CLK__USDHC2_CLK		0x400>, /* SMARC P36 - SDIO_CK  */
			   <IMX95_PAD_SD2_CMD__USDHC2_CMD		0x400>, /* SMARC P34 - SDIO_CMD */
			   <IMX95_PAD_SD2_DATA0__USDHC2_DATA0		0x400>, /* SMARC P39 - SDIO_D0  */
			   <IMX95_PAD_SD2_DATA1__USDHC2_DATA1		0x400>, /* SMARC P40 - SDIO_D1  */
			   <IMX95_PAD_SD2_DATA2__USDHC2_DATA2		0x400>, /* SMARC P41 - SDIO_D2  */
			   <IMX95_PAD_SD2_DATA3__USDHC2_DATA3		0x400>; /* SMARC P42 - SDIO_D3  */
	};

	/* SMARC SDIO_CD# */
	pinctrl_usdhc2_cd: usdhc2-cdgrp {
		fsl,pins = <IMX95_PAD_SD2_CD_B__GPIO3_IO_BIT0	0x1100>; /* SMARC P35 - SDIO_CD# */
	};

	/* SMARC SDIO_PWR_EN */
	pinctrl_usdhc2_pwr_en: usdhc2-pwrengrp {
		fsl,pins = <IMX95_PAD_SD2_RESET_B__GPIO3_IO_BIT7	0x11e>; /* SMARC P37 - SDIO_PWR_EN */
	};

	pinctrl_usdhc2_vsel: usdhc2-vselgrp {
		fsl,pins = <IMX95_PAD_SD2_VSELECT__GPIO3_IO_BIT19	0x4>; /* PMIC_SD2_VSEL */
	};

	/* On-module Wi-Fi */
	pinctrl_usdhc3: usdhc3grp {
		fsl,pins = <IMX95_PAD_SD3_CLK__USDHC3_CLK	0x158e>, /* SD3_CLK   */
			   <IMX95_PAD_SD3_CMD__USDHC3_CMD	0x138e>, /* SD3_CMD   */
			   <IMX95_PAD_SD3_DATA0__USDHC3_DATA0	0x138e>, /* SD3_DATA0 */
			   <IMX95_PAD_SD3_DATA1__USDHC3_DATA1	0x138e>, /* SD3_DATA1 */
			   <IMX95_PAD_SD3_DATA2__USDHC3_DATA2	0x138e>, /* SD3_DATA2 */
			   <IMX95_PAD_SD3_DATA3__USDHC3_DATA3	0x138e>; /* SD3_DATA3 */
	};

	/* On-module Wi-Fi */
	pinctrl_usdhc3_200mhz: usdhc3-200mhzgrp {
		fsl,pins = <IMX95_PAD_SD3_CLK__USDHC3_CLK	0x15fe>, /* SD3_CLK   */
			   <IMX95_PAD_SD3_CMD__USDHC3_CMD	0x13fe>, /* SD3_CMD   */
			   <IMX95_PAD_SD3_DATA0__USDHC3_DATA0	0x13fe>, /* SD3_DATA1 */
			   <IMX95_PAD_SD3_DATA1__USDHC3_DATA1	0x13fe>, /* SD3_DATA2 */
			   <IMX95_PAD_SD3_DATA2__USDHC3_DATA2	0x13fe>, /* SD3_DATA3 */
			   <IMX95_PAD_SD3_DATA3__USDHC3_DATA3	0x13fe>; /* SD3_DATA4 */
	};
};
